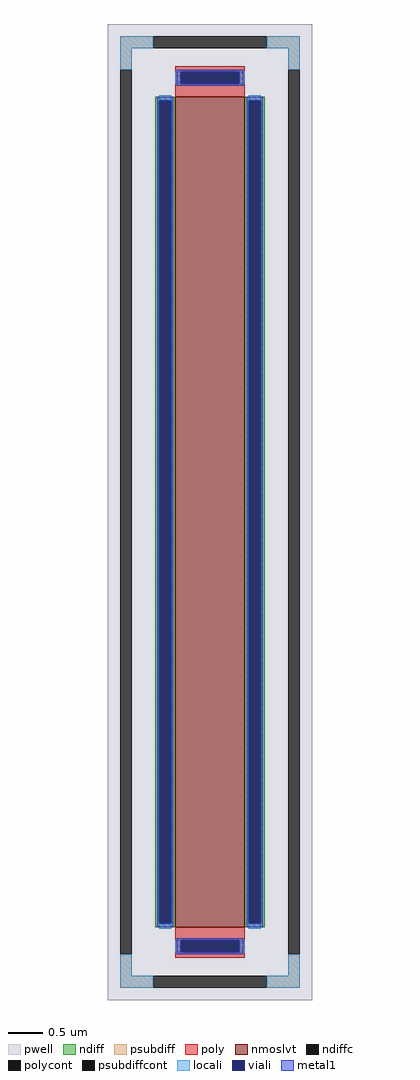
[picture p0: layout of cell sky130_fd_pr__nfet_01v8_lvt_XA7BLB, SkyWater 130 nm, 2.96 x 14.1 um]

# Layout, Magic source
magic
tech sky130A
<< pwell >>
rect -148 -705 148 705
<< nmoslvt >>
rect -50 -600 50 600
<< ndiff >>
rect -79 594 -50 600
rect -79 -594 -73 594
rect -56 -594 -50 594
rect -79 -600 -50 -594
rect 50 594 79 600
rect 50 -594 56 594
rect 73 -594 79 594
rect 50 -600 79 -594
<< ndiffc >>
rect -73 -594 -56 594
rect 56 -594 73 594
<< psubdiff >>
rect -130 670 -82 687
rect 82 670 130 687
rect -130 639 -113 670
rect 113 639 130 670
rect -130 -670 -113 -639
rect 113 -670 130 -639
rect -130 -687 -82 -670
rect 82 -687 130 -670
<< psubdiffcont >>
rect -82 670 82 687
rect -130 -639 -113 639
rect 113 -639 130 639
rect -82 -687 82 -670
<< poly >>
rect -50 636 50 644
rect -50 619 -42 636
rect 42 619 50 636
rect -50 600 50 619
rect -50 -619 50 -600
rect -50 -636 -42 -619
rect 42 -636 50 -619
rect -50 -644 50 -636
<< polycont >>
rect -42 619 42 636
rect -42 -636 42 -619
<< locali >>
rect -130 670 -82 687
rect 82 670 130 687
rect -130 639 -113 670
rect 113 639 130 670
rect -50 619 -42 636
rect 42 619 50 636
rect -73 594 -56 602
rect -73 -602 -56 -594
rect 56 594 73 602
rect 56 -602 73 -594
rect -50 -636 -42 -619
rect 42 -636 50 -619
rect -130 -670 -113 -639
rect 113 -670 130 -639
rect -130 -687 -82 -670
rect 82 -687 130 -670
<< viali >>
rect -42 619 42 636
rect -73 -594 -56 594
rect 56 -594 73 594
rect -42 -636 42 -619
<< metal1 >>
rect -48 636 48 639
rect -48 619 -42 636
rect 42 619 48 636
rect -48 616 48 619
rect -76 594 -53 600
rect -76 -594 -73 594
rect -56 -594 -53 594
rect -76 -600 -53 -594
rect 53 594 76 600
rect 53 -594 56 594
rect 73 -594 76 594
rect 53 -600 76 -594
rect -48 -619 48 -616
rect -48 -636 -42 -619
rect 42 -636 48 -619
rect -48 -639 48 -636
<< properties >>
string FIXED_BBOX -121 -678 121 678
string gencell sky130_fd_pr__nfet_01v8_lvt
string library sky130
string parameters w 12.0 l 1.0 m 1 nf 1 diffcov 100 polycov 100 guard 1 glc 1 grc 1 gtc 1 gbc 1 tbcov 100 rlcov 100 topc 1 botc 1 poverlap 0 doverlap 1 lmin 0.15 wmin 0.42 compatible {sky130_fd_pr__nfet_01v8 sky130_fd_pr__nfet_01v8_lvt  sky130_fd_bs_flash__special_sonosfet_star  sky130_fd_pr__nfet_g5v0d10v5 sky130_fd_pr__nfet_05v0_nvt  sky130_fd_pr__nfet_03v3_nvt} full_metal 1 viasrc 100 viadrn 100 viagate 100 viagb 0 viagr 0 viagl 0 viagt 0
<< end >>
